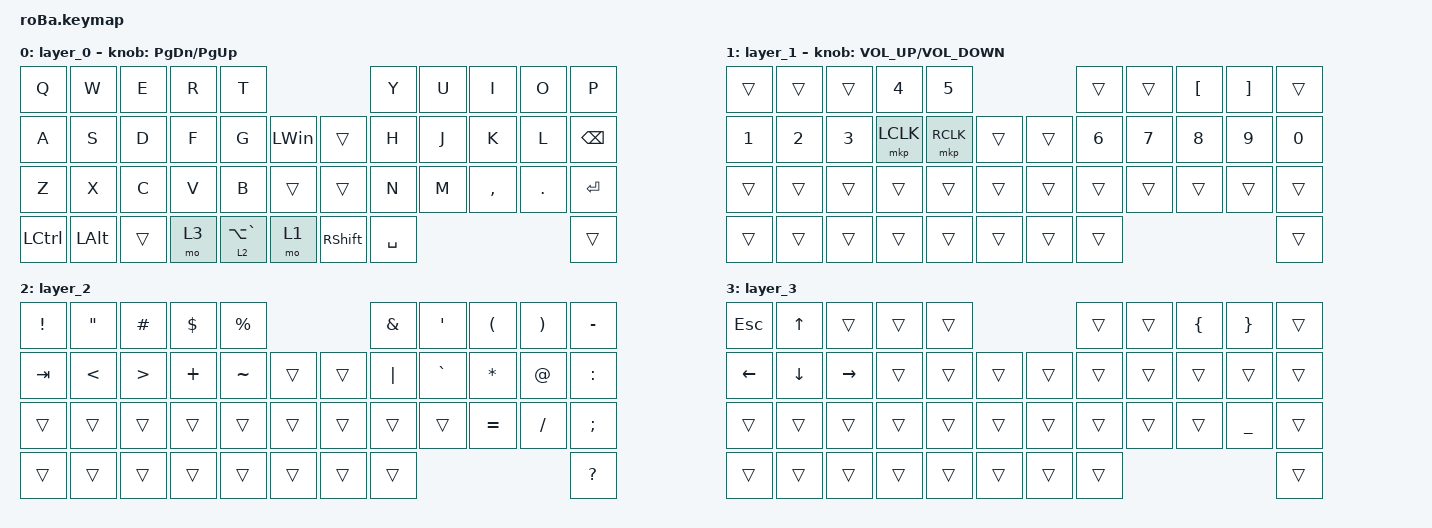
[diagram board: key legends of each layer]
#include <behaviors.dtsi>
#include <dt-bindings/zmk/keys.h>
#include <dt-bindings/zmk/pointing.h>

&mt {
    flavor = "balanced";
    quick-tap-ms = <0>;
};

&trackball {
    automouse-layer = <4>;
    scroll-layers = <5>;

    // arrows {
    //     layers = <3>;
    //     bindings =
    //         <&kp RIGHT_ARROW>,
    //         <&kp LEFT_ARROW>,
    //         <&kp UP_ARROW>,
    //         <&kp DOWN_ARROW>;
    //     tick = <10>;
    //     wait-ms = <5>;
    //     tap-ms = <5>;
    // };
};

/ {
    combos {
        compatible = "zmk,combos";

        tab {
            bindings = <&kp TAB>;
            key-positions = <11 12>;
        };

        shift_tab {
            bindings = <&kp LS(TAB)>;
            key-positions = <12 13>;
        };

        muhennkann {
            bindings = <&to_layer_0 INT_MUHENKAN>;
            key-positions = <11 10>;
        };

        double_quotation {
            bindings = <&kp DOUBLE_QUOTES>;
            key-positions = <20 21>;
        };

        eq {
            bindings = <&kp EQUAL>;
            key-positions = <24 25>;
        };
    };

    macros {
        to_layer_0: to_layer_0 {
            compatible = "zmk,behavior-macro-one-param";
            #binding-cells = <1>;
            bindings = <&to 0 &macro_param_1to1 &kp MACRO_PLACEHOLDER>;
            label = "TO_LAYER_0";
        };
    };

    behaviors {
        lt_to_layer_0: lt_to_layer_0 {
            compatible = "zmk,behavior-hold-tap";
            label = "LAYER_TAP_TO_0";
            bindings = <&mo>, <&to_layer_0>;

            #binding-cells = <2>;
            tapping-term-ms = <200>;
        };
    };

    keymap {
        compatible = "zmk,keymap";

        layer_0 {
            bindings = <
&kp Q      &kp W         &kp E   &kp R  &kp T                                               &kp Y      &kp U  &kp I      &kp O    &kp P
&kp A      &kp S         &kp D   &kp F  &kp G            &kp LEFT_WIN      &trans           &kp H      &kp J  &kp K      &kp L    &kp BACKSPACE
&kp Z      &kp X         &kp C   &kp V  &kp B            &trans            &trans           &kp N      &kp M  &kp COMMA  &kp DOT  &kp ENTER
&kp LCTRL  &kp LEFT_ALT  &trans  &mo 3  &lt 2 LA(GRAVE)  &mo 1             &kp RIGHT_SHIFT  &kp SPACE                             &trans
            >;

            sensor-bindings = <&inc_dec_kp PAGE_DOWN PAGE_UP>;
        };

        layer_1 {
            bindings = <
&trans        &trans        &trans        &kp NUMBER_4  &kp NUMBER_5                      &trans        &trans        &kp LEFT_BRACKET  &kp RIGHT_BRACKET  &trans
&kp NUMBER_1  &kp NUMBER_2  &kp NUMBER_3  &mkp LCLK     &mkp RCLK     &trans      &trans  &kp NUMBER_6  &kp NUMBER_7  &kp NUMBER_8      &kp NUMBER_9       &kp NUMBER_0
&trans        &trans        &trans        &trans        &trans        &trans      &trans  &trans        &trans        &trans            &trans             &trans
&trans        &trans        &trans        &trans        &trans        &trans      &trans  &trans                                                           &trans
            >;

            sensor-bindings = <&inc_dec_kp C_VOLUME_UP C_VOLUME_DOWN>;
        };

        layer_2 {
            bindings = <
&kp EXCLAMATION  &kp DOUBLE_QUOTES  &kp HASH          &kp DOLLAR  &kp PERCENT                      &kp AMPERSAND  &kp SINGLE_QUOTE  &kp LEFT_PARENTHESIS  &kp RIGHT_PARENTHESIS  &kp MINUS
&kp TAB          &kp LESS_THAN      &kp GREATER_THAN  &kp PLUS    &kp TILDE    &trans      &trans  &kp PIPE       &kp GRAVE         &kp ASTERISK          &kp AT                 &kp COLON
&trans           &trans             &trans            &trans      &trans       &trans      &trans  &trans         &trans            &kp EQUAL             &kp SLASH              &kp SEMICOLON
&trans           &trans             &trans            &trans      &trans       &trans      &trans  &trans                                                                        &kp QUESTION
            >;
        };

        layer_3 {
            bindings = <
&kp ESCAPE      &kp UP_ARROW    &trans           &trans  &trans                      &trans  &trans  &kp LEFT_BRACE  &kp RIGHT_BRACE  &trans
&kp LEFT_ARROW  &kp DOWN_ARROW  &kp RIGHT_ARROW  &trans  &trans  &trans      &trans  &trans  &trans  &trans          &trans           &trans
&trans          &trans          &trans           &trans  &trans  &trans      &trans  &trans  &trans  &trans          &kp UNDERSCORE   &trans
&trans          &trans          &trans           &trans  &trans  &trans      &trans  &trans                                           &trans
            >;
        };
    };
};
